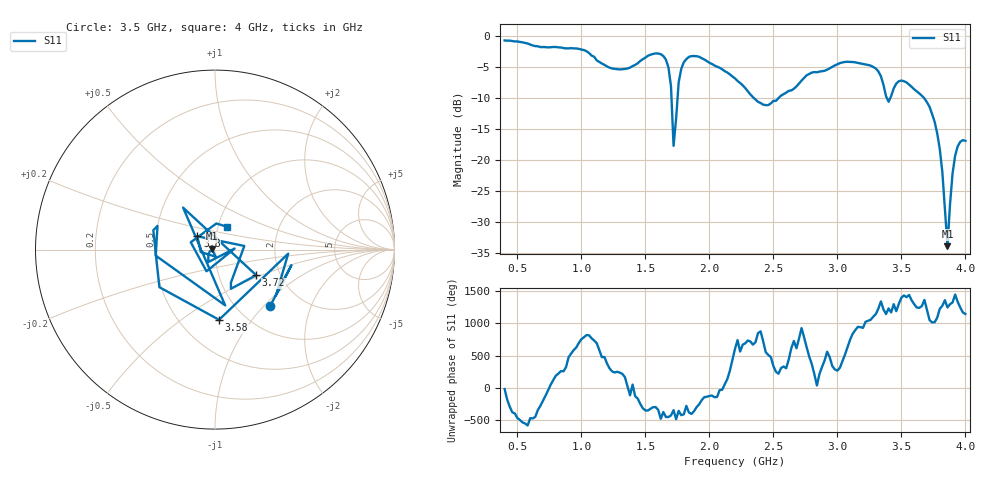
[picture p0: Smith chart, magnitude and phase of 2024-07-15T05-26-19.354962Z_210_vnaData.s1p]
!Created with skrf (http://scikit-rf.org).
# Hz S RI R 50.0
!freq ReS11 ImS11
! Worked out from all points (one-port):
!   181 points, 400 MHz to 4 GHz, reference 50 ohm
!   lowest |S11| = -33.8 dB at 3.86 GHz (marker M1), VSWR 1.04, Z = 48.1 + j0.551 ohm
!   |S11| at or under -10 dB: 1.704 GHz to 1.751 GHz (47.13 MHz wide, 2.73 % of centre); 2.35 GHz to 2.538 GHz (187.7 MHz wide, 7.68 % of centre); 3.68 GHz to end of sweep (the widest 3 of 4)
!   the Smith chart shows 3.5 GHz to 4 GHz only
!   S11 on the Smith chart (normalised r, x): 3.5 GHz: 1.39, -1.09; 3.58 GHz: 0.76, -0.71; 3.72 GHz: 1.51, -0.46; 3.8 GHz: 0.81, +0.12; 4 GHz: 1.10, +0.29
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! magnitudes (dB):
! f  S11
! 400 MHz  -0.7
! 860 MHz  -1.9
! 1.3 GHz  -5.3
! 1.58 GHz  -2.7
! 1.66 GHz  -3.7
! 1.7 GHz  -8.1
! 1.72 GHz  -17.7
! 1.76 GHz  -7.4
! 1.8 GHz  -4.2
! 1.86 GHz  -3.2
! 2.2 GHz  -6.8
! 2.44 GHz  -11.1
! 2.66 GHz  -8.5
! 2.8 GHz  -5.8
! 3.1 GHz  -4.1
! 3.3 GHz  -5.2
! 3.4 GHz  -10.6
! 3.5 GHz  -7.1
! 3.56 GHz  -7.8
! 3.58 GHz  -8.1
! 3.72 GHz  -11.4
! 3.8 GHz  -18.2
! 3.82 GHz  -21.9
! 3.86 GHz  -33.8
! 3.9 GHz  -22.1
! 3.92 GHz  -19.2
! 3.96 GHz  -17.0
! 4 GHz  -16.8
